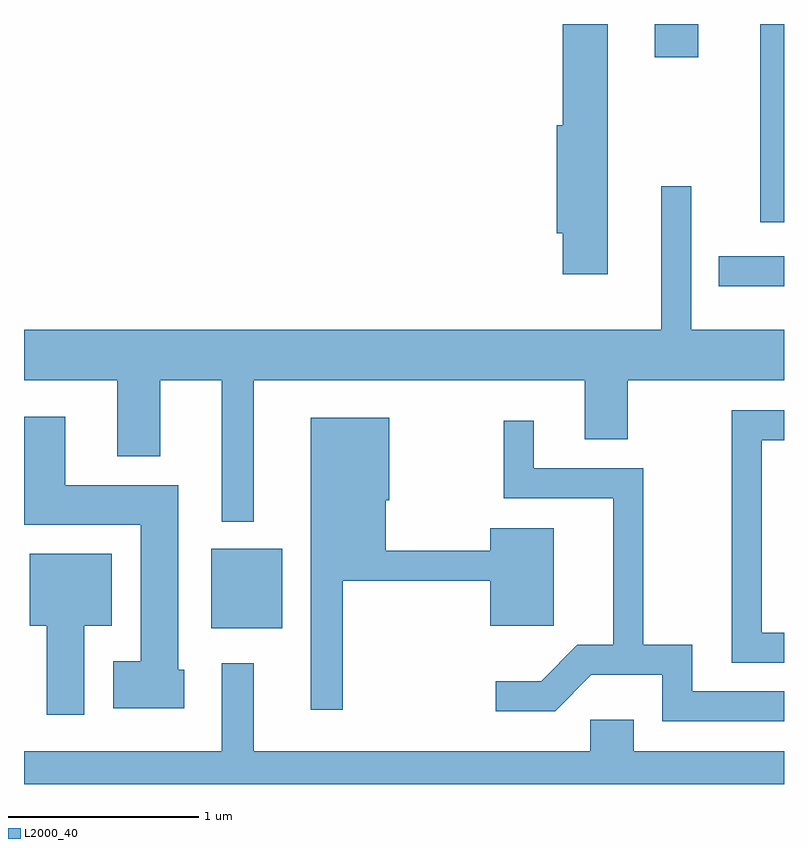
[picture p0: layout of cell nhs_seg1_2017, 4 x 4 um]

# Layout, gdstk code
import gdstk
lib = gdstk.Library(unit=1e-6, precision=1e-09)
def R(c, l, rs):  # rectangles x0, y0, x1, y1
    for r in rs: c.add(gdstk.rectangle(r[:2], r[2:], *l))
def P(c, l, *ps):  # polygons
    for p in ps: c.add(gdstk.Polygon(p, *l))
L2000_40 = (2000, 40)

nhs_seg1_2017 = lib.new_cell('nhs_seg1_2017')
R(nhs_seg1_2017, L2000_40, [(248.596,860.531,248.969,860.949), (251.268,862.331,251.611,862.489), (251.486,862.668,251.611,863.712), (250.931,863.536,251.159,863.712)])
P(nhs_seg1_2017, L2000_40, [(250.684,863.712),(250.446,863.712),(250.446,863.179),(250.416,863.179),(250.416,862.611),(250.446,862.611),(250.446,862.396),(250.684,862.396)],
  [(248.819,861.836),(250.561,861.836),(250.561,861.526),(250.789,861.526),(250.789,861.836),(251.611,861.836),(251.611,862.104),(251.124,862.104),(251.124,862.858),(250.966,862.858),(250.966,862.104),(247.611,862.104),(247.611,861.836),(248.101,861.836),(248.101,861.436),(248.329,861.436),(248.329,861.836),(248.651,861.836),(248.651,861.093),(248.819,861.093)],
  [(251.611,860.509),(251.494,860.509),(251.494,861.521),(251.611,861.521),(251.611,861.679),(251.336,861.679),(251.336,860.351),(251.611,860.351)],
  [(248.454,860.314),(248.424,860.314),(248.424,861.284),(247.829,861.284),(247.829,861.644),(247.611,861.644),(247.611,861.076),(248.226,861.076),(248.226,860.359),(248.081,860.359),(248.081,860.111),(248.454,860.111)],
  [(249.289,860.781),(250.066,860.781),(250.066,860.546),(250.399,860.546),(250.399,861.059),(250.066,861.059),(250.066,860.939),(249.514,860.939),(249.514,861.206),(249.534,861.206),(249.534,861.639),(249.121,861.639),(249.121,860.103),(249.289,860.103)],
  [(251.611,860.199),(251.129,860.199),(251.129,860.444),(250.869,860.444),(250.869,861.374),(250.294,861.374),(250.294,861.623),(250.136,861.623),(250.136,861.216),(250.711,861.216),(250.711,860.444),(250.524,860.444),(250.334,860.254),(250.093,860.254),(250.093,860.096),(250.407,860.096),(250.597,860.286),(250.971,860.286),(250.971,860.041),(251.611,860.041)],
  [(247.929,860.546),(248.074,860.546),(248.074,860.924),(247.641,860.924),(247.641,860.546),(247.731,860.546),(247.731,860.076),(247.929,860.076)],
  [(251.611,859.884),(250.819,859.884),(250.819,860.049),(250.591,860.049),(250.591,859.884),(248.819,859.884),(248.819,860.348),(248.651,860.348),(248.651,859.884),(247.611,859.884),(247.611,859.712),(251.611,859.712)])

lib.write_gds('nhs_seg1_2017.gds')
